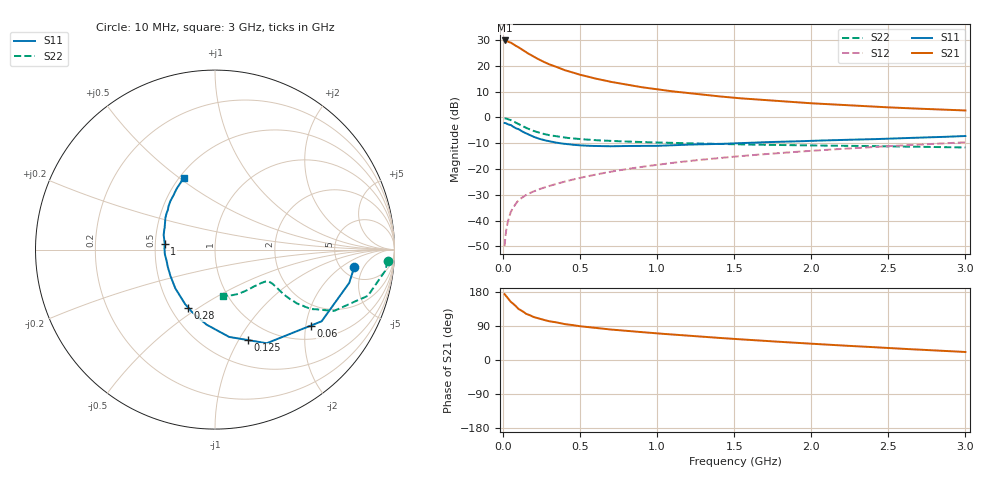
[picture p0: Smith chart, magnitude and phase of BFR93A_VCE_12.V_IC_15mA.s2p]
! (c) 2015  Infineon Technologies AG, Munich
! Infineon Technologies  Discrete & RF Semiconductors
! BFR93A
! VCE =  12. V,  IC =  15 mA
! Common Emitter S-Parameters:  Nov 2015
# GHz  S  MA  R  50
!  f  S11  S21  S12  S22
! GHz  MAG  ANG  MAG  ANG  MAG  ANG  MAG  ANG
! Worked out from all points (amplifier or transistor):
!   180 points, 10 MHz to 3 GHz, reference 50 ohm
!   highest |S21| = 29.9 dB at 10 MHz (marker M1)
!   |S21| within 3 dB of that: start of sweep to 109.5 MHz
!   unconditionally stable (mu >= 1): 531.1 MHz to 2.698 GHz
!   at 160 MHz: K = 0.58, MSG = 27.3 dB, |S12| = -29.7 dB
!   at 1.22 GHz: K = 1.08, MAG = 11.3 dB, |S12| = -16.8 dB
!   at 3 GHz: K = 0.97, MSG = 6.2 dB, |S12| = -9.6 dB
!   S11 on the Smith chart (normalised r, x): 10 MHz: 6.57, -3.23; 60 MHz: 1.35, -2.13; 125 MHz: 0.77, -1.09; 280 MHz: 0.61, -0.45; 1 GHz: 0.56, +0.04; 3 GHz: 0.53, +0.52
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0.01  0.7825 -7.0  31.17 173.7  0.0032 81.6  0.9654 -3.7
0.02  0.7706 -13.9  30.7 168.4  0.0064 79.5  0.9547 -7.2
0.05  0.7159 -33.9  28.34 153.5  0.0147 73.3  0.8899 -16.8
0.06  0.6809 -38.5  27.08 150.4  0.0167 70.8  0.8592 -18.6
0.1  0.5961 -61.1  23.03 134.7  0.0248 64.8  0.7468 -27.2
0.125  0.5365 -70.0  20.56 129.0  0.0281 62.4  0.6865 -29.3
0.15  0.4928 -80.8  18.34 121.8  0.0315 60.5  0.6272 -31.8
0.2  0.4209 -96.4  14.97 113.2  0.0371 60.0  0.5467 -33.3
0.24  0.3827 -106.2  13 108.3  0.0412 60.4  0.5024 -33.4
0.28  0.3565 -114.7  11.44 104.2  0.0451 61.1  0.469 -33.2
0.3  0.3462 -118.8  10.72 102.2  0.047 61.4  0.4541 -33.0
0.4  0.3087 -135.8  8.272 94.7  0.0571 63.2  0.4068 -31.7
0.52  0.2863 -151.1  6.522 88.3  0.0696 64.7  0.3774 -30.8
0.6  0.2802 -159.7  5.682 84.5  0.078 65.3  0.3628 -30.6
0.7  0.2769 -167.3  4.911 80.4  0.089 65.6  0.3511 -30.8
0.8  0.2805 -174.5  4.332 76.7  0.0997 65.9  0.3421 -31.3
1  0.2821 173.1  3.509 70.2  0.121 65.3  0.3284 -33.2
1.02  0.2834 172.1  3.449 69.6  0.1232 65.2  0.3272 -33.5
1.52  0.3172 151.3  2.38 55.1  0.1762 62.0  0.3021 -41.8
2.02  0.3546 136.8  1.873 42.6  0.228 57.6  0.287 -52.7
2.52  0.3911 124.6  1.563 31.3  0.2799 52.8  0.2753 -65.5
3  0.4374 113.5  1.369 21.1  0.3301 47.9  0.2627 -80.7
